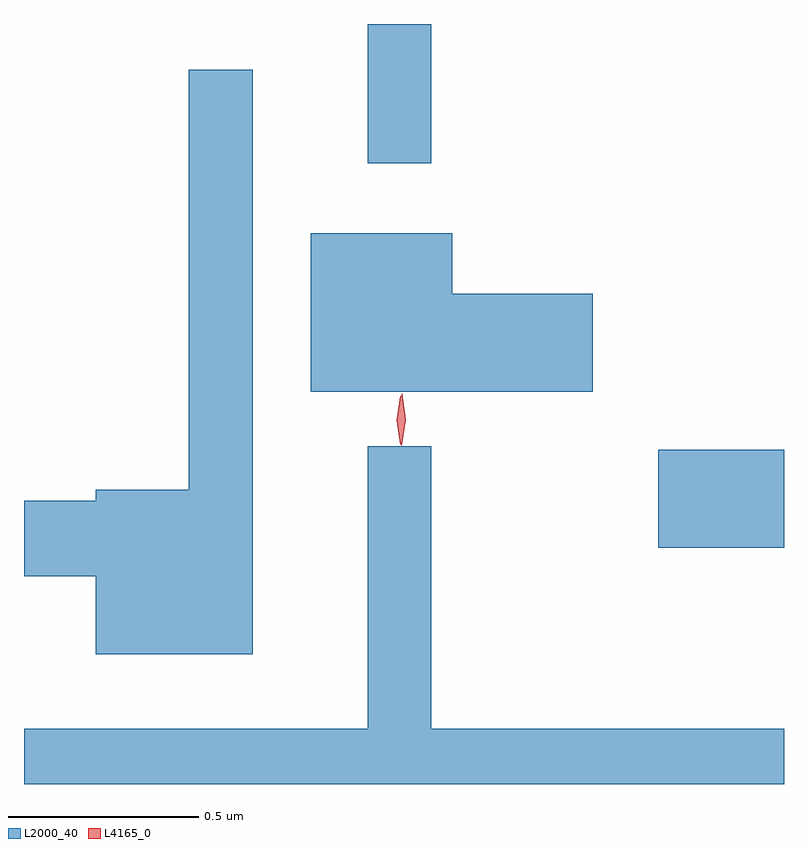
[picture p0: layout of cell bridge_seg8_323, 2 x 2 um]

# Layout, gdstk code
import gdstk
lib = gdstk.Library(unit=1e-6, precision=1e-09)
def R(c, l, rs):  # rectangles x0, y0, x1, y1
    for r in rs: c.add(gdstk.rectangle(r[:2], r[2:], *l))
def P(c, l, *ps):  # polygons
    for p in ps: c.add(gdstk.Polygon(p, *l))
L2000_40 = (2000, 40)
L4165_0 = (4165, 0)

bridge_seg8_323 = lib.new_cell('bridge_seg8_323')
R(bridge_seg8_323, L2000_40, [(987.856,1888.221,988.187,1888.479), (987.091,1889.233,987.259,1889.599)])
P(bridge_seg8_323, L2000_40, [(986.789,1889.478),(986.621,1889.478),(986.621,1888.374),(986.376,1888.374),(986.376,1888.344),(986.187,1888.344),(986.187,1888.146),(986.376,1888.146),(986.376,1887.941),(986.789,1887.941)],
  [(987.684,1888.889),(987.314,1888.889),(987.314,1889.049),(986.941,1889.049),(986.941,1888.631),(987.684,1888.631)],
  [(988.187,1887.744),(987.259,1887.744),(987.259,1888.488),(987.091,1888.488),(987.091,1887.744),(986.187,1887.744),(986.187,1887.599),(988.187,1887.599)])
P(bridge_seg8_323, L4165_0, [(987.18,1888.49),(987.18,1888.49),(987.171,1888.558),(987.181,1888.626),(987.182,1888.626),(987.182,1888.626),(987.191,1888.558),(987.181,1888.49)],
  [(987.177,1888.493),(987.168,1888.556),(987.177,1888.619),(987.178,1888.62),(987.178,1888.619),(987.188,1888.556),(987.178,1888.493),(987.178,1888.493)])

lib.write_gds('bridge_seg8_323.gds')
